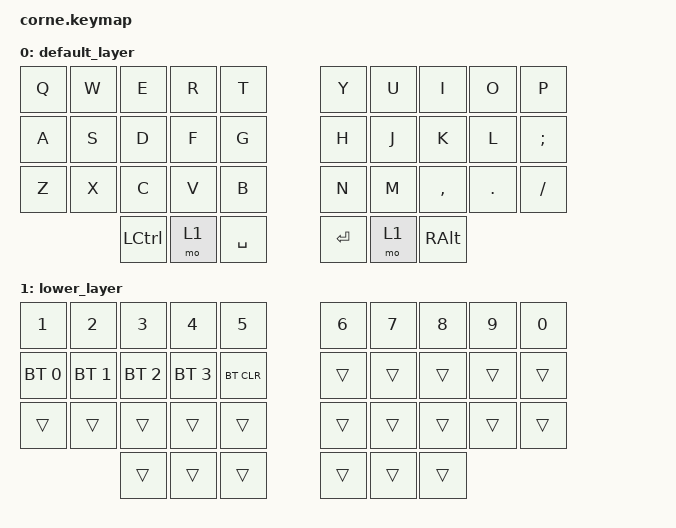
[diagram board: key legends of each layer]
#include <behaviors.dtsi>
#include <dt-bindings/zmk/keys.h>
#include <dt-bindings/zmk/bt.h>

/ {
    keymap {
        compatible = "zmk,keymap";

        default_layer {
            bindings = <
                &kp Q    &kp W    &kp E     &kp R     &kp T       &kp Y     &kp U     &kp I     &kp O     &kp P
                &kp A    &kp S    &kp D     &kp F     &kp G       &kp H     &kp J     &kp K     &kp L     &kp SEMI
                &kp Z    &kp X    &kp C     &kp V     &kp B       &kp N     &kp M     &kp COMMA &kp DOT   &kp FSLH
                                  &kp LCTRL &mo 1     &kp SPACE   &kp RET   &mo 1     &kp RALT
            >;
        };

        lower_layer {
            bindings = <
                &kp N1       &kp N2       &kp N3       &kp N4       &kp N5          &kp N6   &kp N7   &kp N8 &kp N9    &kp N0
                &bt BT_SEL 0 &bt BT_SEL 1 &bt BT_SEL 2 &bt BT_SEL 3 &bt BT_CLR      &trans   &trans   &trans &trans    &trans
                &trans       &trans       &trans       &trans       &trans          &trans   &trans   &trans &trans    &trans
                                          &trans       &trans       &trans          &trans   &trans   &trans
            >;
        };
    };
};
